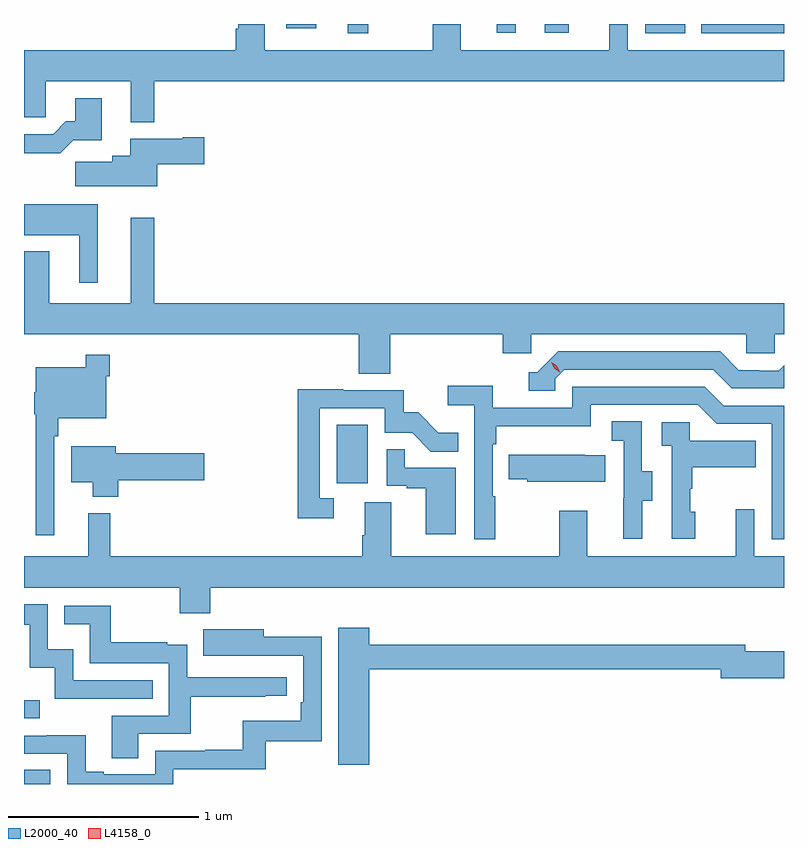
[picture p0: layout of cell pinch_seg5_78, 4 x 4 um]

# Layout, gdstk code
import gdstk
lib = gdstk.Library(unit=1e-6, precision=1e-09)
def R(c, l, rs):  # rectangles x0, y0, x1, y1
    for r in rs: c.add(gdstk.rectangle(r[:2], r[2:], *l))
def P(c, l, *ps):  # polygons
    for p in ps: c.add(gdstk.Polygon(p, *l))
L2000_40 = (2000, 40)
L4158_0 = (4158, 0)

pinch_seg5_78 = lib.new_cell('pinch_seg5_78')
R(pinch_seg5_78, L2000_40, [(1022.592,906.342,1022.731,906.416), (1022.592,906.687,1022.674,906.784), (1024.238,907.926,1024.402,908.233), (1024.296,910.293,1024.405,910.342), (1025.862,910.293,1026.071,910.342), (1026.156,910.293,1026.592,910.342), (1025.081,910.296,1025.179,910.342), (1025.334,910.296,1025.458,910.342), (1023.971,910.32,1024.129,910.342)])
P(pinch_seg5_78, L2000_40, [(1023.277,910.04),(1026.592,910.04),(1026.592,910.204),(1025.769,910.204),(1025.769,910.342),(1025.672,910.342),(1025.672,910.204),(1024.891,910.204),(1024.891,910.342),(1024.744,910.342),(1024.744,910.204),(1023.859,910.204),(1023.859,910.342),(1023.719,910.342),(1023.719,910.316),(1023.707,910.316),(1023.707,910.204),(1022.592,910.204),(1022.592,909.85),(1022.706,909.85),(1022.706,910.04),(1023.155,910.04),(1023.155,909.824),(1023.277,909.824)],
  [(1022.852,909.731),(1023.001,909.731),(1023.001,909.952),(1022.861,909.952),(1022.861,909.829),(1022.812,909.829),(1022.745,909.762),(1022.592,909.762),(1022.592,909.662),(1022.783,909.662)],
  [(1023.292,909.605),(1023.541,909.605),(1023.541,909.747),(1023.428,909.747),(1023.428,909.739),(1023.152,909.739),(1023.152,909.649),(1023.056,909.649),(1023.056,909.617),(1022.862,909.617),(1022.862,909.488),(1023.292,909.488)],
  [(1022.98,909.394),(1022.592,909.394),(1022.592,909.23),(1022.882,909.23),(1022.882,908.979),(1022.98,908.979)],
  [(1024.52,908.708),(1025.111,908.708),(1025.111,908.61),(1025.262,908.61),(1025.262,908.708),(1026.393,908.708),(1026.393,908.61),(1026.543,908.61),(1026.543,908.708),(1026.592,908.708),(1026.592,908.872),(1023.277,908.872),(1023.277,909.322),(1023.155,909.322),(1023.155,908.872),(1022.725,908.872),(1022.725,909.145),(1022.592,909.145),(1022.592,908.708),(1024.355,908.708),(1024.355,908.5),(1024.52,908.5)],
  [(1025.388,908.475),(1025.436,908.523),(1026.219,908.523),(1026.318,908.424),(1026.592,908.424),(1026.592,908.545),(1026.565,908.517),(1026.462,908.517),(1026.462,908.52),(1026.355,908.52),(1026.256,908.619),(1025.403,908.619),(1025.292,908.508),(1025.249,908.508),(1025.249,908.412),(1025.388,908.412)],
  [(1022.751,908.171),(1022.771,908.171),(1022.771,908.267),(1023.024,908.267),(1023.024,908.489),(1023.044,908.489),(1023.044,908.602),(1022.916,908.602),(1022.916,908.536),(1022.654,908.536),(1022.654,908.403),(1022.645,908.403),(1022.645,908.289),(1022.654,908.289),(1022.654,907.65),(1022.751,907.65)],
  [(1025.071,907.856),(1025.058,907.856),(1025.058,908.129),(1025.078,908.129),(1025.078,908.225),(1025.574,908.225),(1025.574,908.337),(1026.138,908.337),(1026.237,908.238),(1026.528,908.238),(1026.528,907.629),(1026.592,907.629),(1026.592,908.334),(1026.274,908.334),(1026.175,908.433),(1025.478,908.433),(1025.478,908.322),(1025.06,908.322),(1025.06,908.438),(1024.821,908.438),(1024.821,908.336),(1024.962,908.336),(1024.962,907.629),(1025.071,907.629)],
  [(1024.222,907.845),(1024.149,907.845),(1024.149,908.319),(1024.491,908.319),(1024.491,908.19),(1024.635,908.19),(1024.733,908.092),(1024.877,908.092),(1024.877,908.191),(1024.773,908.191),(1024.666,908.298),(1024.59,908.298),(1024.59,908.415),(1024.271,908.415),(1024.271,908.42),(1024.033,908.42),(1024.033,907.74),(1024.222,907.74)],
  [(1025.845,907.834),(1025.899,907.834),(1025.899,907.989),(1025.844,907.989),(1025.844,908.252),(1025.685,908.252),(1025.685,908.149),(1025.748,908.149),(1025.748,907.845),(1025.747,907.845),(1025.747,907.632),(1025.845,907.632)],
  [(1026.124,907.776),(1026.099,907.776),(1026.099,907.895),(1026.109,907.895),(1026.109,908.009),(1026.443,908.009),(1026.443,908.149),(1026.096,908.149),(1026.096,908.247),(1025.949,908.247),(1025.949,908.123),(1026,908.123),(1026,907.632),(1026.124,907.632)],
  [(1023.089,907.942),(1023.541,907.942),(1023.541,908.084),(1023.076,908.084),(1023.076,908.119),(1022.84,908.119),(1022.84,907.931),(1022.954,907.931),(1022.954,907.853),(1023.089,907.853)],
  [(1024.864,908.007),(1024.595,908.007),(1024.595,908.105),(1024.5,908.105),(1024.5,907.911),(1024.607,907.911),(1024.607,907.899),(1024.706,907.899),(1024.706,907.656),(1024.864,907.656)],
  [(1025.651,908.071),(1025.543,908.071),(1025.543,908.074),(1025.143,908.074),(1025.143,907.945),(1025.241,907.945),(1025.241,907.934),(1025.651,907.934)],
  [(1023.572,907.376),(1026.592,907.376),(1026.592,907.54),(1026.435,907.54),(1026.435,907.789),(1026.338,907.789),(1026.338,907.54),(1025.557,907.54),(1025.557,907.78),(1025.41,907.78),(1025.41,907.54),(1024.525,907.54),(1024.525,907.826),(1024.385,907.826),(1024.385,907.652),(1024.373,907.652),(1024.373,907.54),(1023.047,907.54),(1023.047,907.768),(1022.93,907.768),(1022.93,907.54),(1022.592,907.54),(1022.592,907.376),(1023.412,907.376),(1023.412,907.241),(1023.572,907.241)],
  [(1023.269,906.888),(1022.85,906.888),(1022.85,907.051),(1022.718,907.051),(1022.718,907.287),(1022.592,907.287),(1022.592,907.179),(1022.621,907.179),(1022.621,906.953),(1022.754,906.953),(1022.754,906.792),(1023.269,906.792)],
  [(1023.193,906.606),(1023.47,906.606),(1023.47,906.802),(1023.863,906.802),(1023.863,906.807),(1023.976,906.807),(1023.976,906.903),(1023.45,906.903),(1023.45,907.075),(1023.347,907.075),(1023.347,907.087),(1023.049,907.087),(1023.049,907.281),(1022.803,907.281),(1022.803,907.184),(1022.938,907.184),(1022.938,906.978),(1023.354,906.978),(1023.354,906.702),(1023.053,906.702),(1023.053,906.478),(1023.193,906.478)],
  [(1024.408,906.946),(1026.26,906.946),(1026.26,906.899),(1026.592,906.899),(1026.592,907.041),(1026.388,907.041),(1026.388,907.075),(1024.408,907.075),(1024.408,907.165),(1024.247,907.165),(1024.247,906.444),(1024.408,906.444)],
  [(1023.378,906.42),(1023.865,906.42),(1023.865,906.567),(1024.158,906.567),(1024.158,907.118),(1023.853,907.118),(1023.853,907.156),(1023.535,907.156),(1023.535,907.016),(1023.749,907.016),(1023.749,907.017),(1024.062,907.017),(1024.062,906.772),(1024.049,906.772),(1024.049,906.676),(1023.744,906.676),(1023.744,906.521),(1023.547,906.521),(1023.547,906.516),(1023.282,906.516),(1023.282,906.393),(1023.013,906.393),(1023.013,906.406),(1022.917,906.406),(1022.917,906.599),(1022.712,906.599),(1022.712,906.597),(1022.592,906.597),(1022.592,906.501),(1022.82,906.501),(1022.82,906.342),(1023.378,906.342)])
P(pinch_seg5_78, L4158_0, [(1025.413,908.51),(1025.382,908.53),(1025.367,908.563),(1025.367,908.563),(1025.367,908.563),(1025.397,908.543),(1025.413,908.51),(1025.413,908.51)])

lib.write_gds('pinch_seg5_78.gds')
